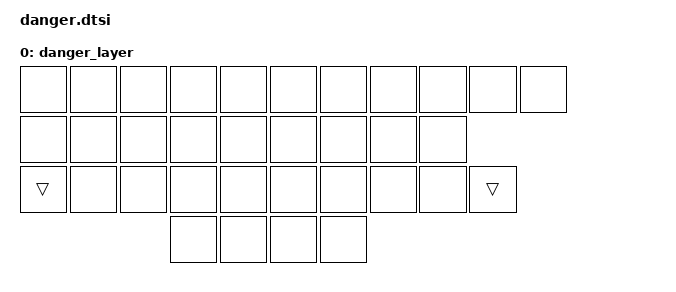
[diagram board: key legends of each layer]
/ {
    keymap {
        compatible = "zmk,keymap";
                danger_layer {
// -----------------------------------------------------------------
// |     |     |     |     |     | |BTCLR| BLE | USB |RESET|     |
// |     |     |     |     |     | |     |     |     |     |BOOTL|
// |_!!!_|     |     |     |     | |     |     |     |     |_FUN_|
//                   |     |     | |     |     |
                    // impactful buttons
                    // Bluetooth clear, reset, chaning BLE/USB preference, bootloader
                    bindings = <
//┌───────┬───────┬───────┬───────┬───────┐ ┌────────────┬──────────────┬──────────────┬────────────┬─────────────┐
    &none   &none   &none   &none   &none     &none        &none          &none          &none        &none      &none
//├───────┼───────┼───────┼───────┼───────┤ ├────────────┼──────────────┼──────────────┼────────────┼─────────────┤
    &none   &none   &none   &none   &none     &none        &none          &none          &none        
//├───────┼───────┼───────┼───────┼───────┤ ├────────────┼──────────────┼──────────────┼────────────┼─────────────┤
    &trans  &none   &none   &none   &none     &none        &none          &none          &none        &trans
//└───────┴───────┴───────┴───────┴───────┘ └────────────┴──────────────┴──────────────┴────────────┴─────────────┘
                            &none   &none     &none        &none
//                        └───────┴───────┘ └────────────┴──────────────┘                        
                    >;
                };
        };
};

COMBO_LAYER(reset, &sys_reset, LBP RBP, DAN)
COMBO_LAYER(flash, &bootloader, LBR RBR, DAN)
